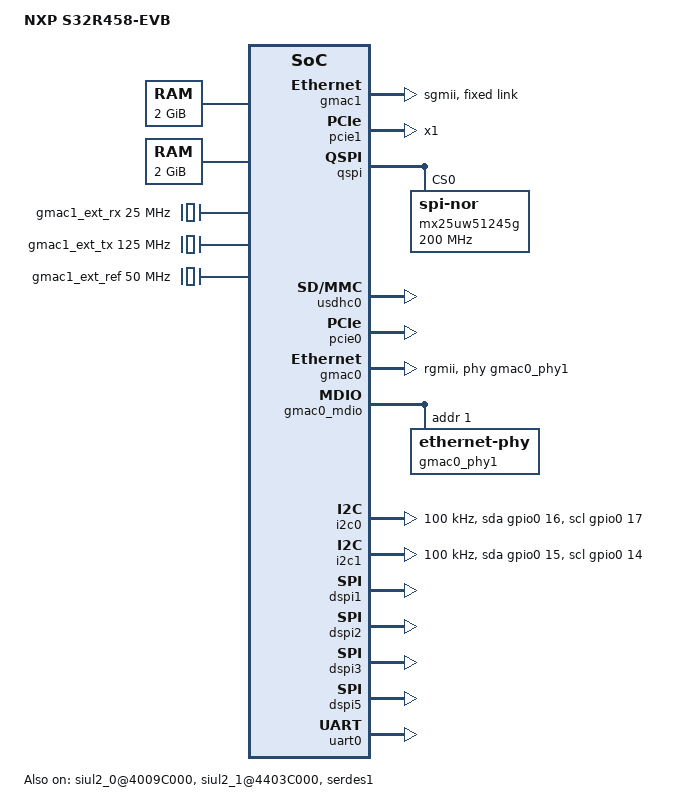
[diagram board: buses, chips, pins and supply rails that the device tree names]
// SPDX-License-Identifier: GPL-2.0+
/*
 * Copyright 2017-2022 NXP
 *
 * This program is free software; you can redistribute it and/or modify
 * it under the terms of the GNU General Public License as published by
 * the Free Software Foundation; either version 2 of the License, or
 * (at your option) any later version.
 */
#include <dt-bindings/clock/s32r45-clock.h>
#include <dt-bindings/clock/s32r45-scmi-clock.h>
#include <dt-bindings/gpio/gpio.h>
#include <dt-bindings/pinctrl/s32r45-pinctrl.h>

/dts-v1/;
#include "fsl-s32-gen1.dtsi"
/ {
	model = "NXP S32R458-EVB";
	compatible = "fsl,s32r45", "arm,vexpress,v2p-aarch64", "arm,vexpress";

	aliases {
		eth0 = &gmac0;
		eth1 = &gmac1;
	};

	memory@80000000 {
		device_type = "memory";
		reg = <0 0x80000000 0 0x80000000>;
	};

	memory@880000000 {
		device_type = "memory";
		reg = <0x8 0x80000000 0 0x80000000>;
	};

	sram@34000000 {
		device_type = "memory";
		reg = <0 0x34000000 0 0x800000>;
	};

	signature {
		key-boot_key {
			required = "conf";
			algo = "sha1,rsa2048";
			key-name-hint = "boot_key";
		};
	};

	gmac1_ext_rx: gmac1_ext_rx@0 {
		compatible = "fixed-clock";
		clock-frequency = <25000000>;
		#clock-cells = <1>;
	};

	gmac1_ext_tx: gmac1_ext_tx@0 {
		compatible = "fixed-clock";
		clock-frequency = <125000000>;
		#clock-cells = <1>;
	};

	gmac1_ext_ref: gmac1_ext_ref@0 {
		compatible = "fixed-clock";
		clock-frequency = <50000000>;
		#clock-cells = <1>;
	};

	siul2_0@4009C000 {
		compatible = "simple-mfd";
		status = "okay";
		reg = <0x0 0x4009C000 0x0 0x2000>;
		u-boot,dm-pre-reloc;

		pinctrl0: siul2-pinctrl0 {
			compatible = "fsl,s32-gen1-siul2-pinctrl";
			#pinctrl-cells = <2>;
			/* MSCR range */
			pins = <&pinctrl0 0 101>,
			/* IMCR range */
			<&pinctrl0 512 573>;
			status = "okay";
		};

		gpio0: siul2-gpio0 {
			compatible = "fsl,s32-gen1-siul2-gpio";
			#gpio-cells = <2>;
			gpio-controller;
			gpio-ranges = <&pinctrl0 0 0 102>;
			status = "okay";
		};

		siul2_0_nvram {
			compatible = "fsl,s32-gen1-siul2_0-nvram";
			status = "okay";
			u-boot,dm-pre-reloc;
		};
	};

	siul2_1@4403C000 {
		compatible = "simple-mfd";
		status = "okay";
		reg = <0x0 0x4403C000 0x0 0x2000>;
		u-boot,dm-pre-reloc;

		pinctrl1: siul2-pinctrl1 {
			compatible = "fsl,s32-gen1-siul2-pinctrl";
			#pinctrl-cells = <2>;
			/* MSCR range */
			pins = <&pinctrl1 102 133>,
			/* IMCR range */
			<&pinctrl1 603 785>;
			status = "okay";
		};

		gpio1: siul2-gpio1 {
			compatible = "fsl,s32-gen1-siul2-gpio";
			#gpio-cells = <2>;
			gpio-controller;
			gpio-ranges = <&pinctrl1 0 102 32>;
			status = "okay";
		};

		siul2_1_nvram {
			compatible = "fsl,s32r-siul2_1-nvram";
			status = "okay";
			u-boot,dm-pre-reloc;
		};
	};

	serdes1: serdes@44180000 {
		compatible = "fsl,s32gen1-serdes";
		reg = <0x00 0x44100000 0x0 0x80000   /* dbi registers */
		       0x00 0x44180000 0x0 0x04000>; /* serdes registers */
		reg-names = "dbi", "ss";
		#address-cells = <3>;
		#size-cells = <2>;
		device_type = "pci-generic";
		device_id = <1>;
		num-lanes = <1>; /* supports 1 lane */
		clocks = <&clks S32GEN1_SCMI_CLK_SERDES_REF>;

		assigned-clocks =
			<&clks S32R45_CLK_SERDES1_LANE0_TX>,
			<&clks S32R45_CLK_SERDES1_LANE0_CDR>;

		assigned-clock-parents =
			<&serdes1_lane0_ext_tx 0>,
			<&serdes1_lane0_ext_cdr 0>;

		status = "okay";
	};

	gmac1: ethernet@44010000 {
		compatible = "fsl,s32cc-dwmac";
		clocks = <&clks S32R45_SCMI_CLK_GMAC1_TS>,
				<&clks S32R45_SCMI_CLK_GMAC1_RX_SGMII>,
				<&clks S32R45_SCMI_CLK_GMAC1_TX_SGMII>,
				<&clks S32R45_SCMI_CLK_GMAC1_RX_RGMII>,
				<&clks S32R45_SCMI_CLK_GMAC1_TX_RGMII>,
				<&clks S32R45_SCMI_CLK_GMAC1_AXI>;
		clock-names = "ts", "rx_sgmii", "tx_sgmii",
						"rx_rgmii", "tx_rgmii", "axi";
		status = "okay";
		reg = <0x0 0x44010000 0x0 0x2000>,
		      <0x0 0x4007CA00 0x0 0x4>;
		tx-fifo-depth = <20480>;
		rx-fifo-depth = <20480>;
		phy-mode = "sgmii";
		fixed-link {
			speed = <1000>;
			full-duplex;
		};
	};

	pcie1: pcie@44100000 {
		compatible = "fsl,s32r45-pcie";
		reg =
			<0x00 0x44100000 0x0 0x80000   /* dbi registers */
			/* configuration space, 4KB each for cfg0 and cfg1
			 * at the end of the outbound memory map
			 */
			0x4f 0xffffe000 0x0 0x00002000>;
		reg-names = "dbi", "config";
		#address-cells = <3>;
		#size-cells = <2>;
		device_type = "pci";
		serdes-handle = <&serdes1>;
		device_id = <1>;
		num-lanes = <1>; /* supports max 1 pcie lane */
		link-speed = <3>; /* supports Gen3 speed */
		bus-range = <0x0 0xff>;
		ranges =
			/* downstream I/O, 64KB and aligned naturally just before
			 * the config space to minimize fragmentation
			 */
			<0x81000000 0x0 0x00000000 0x4f 0xfffe0000 0x0 0x00010000
			/* non-prefetchable memory, with best case size
			 * and alignment
			 */
			 0x82000000 0x0 0x00000000 0x48 0x00000000 0x7 0xfffe0000>;
		status = "okay";
	};
};

&serdes0 {
	assigned-clocks =
		<&clks S32GEN1_CLK_SERDES0_LANE0_TX>,
		<&clks S32GEN1_CLK_SERDES0_LANE0_CDR>,
		<&clks S32GEN1_CLK_SERDES_REF>;
	assigned-clock-parents =
		<&serdes0_lane0_ext_tx 0>,
		<&serdes0_lane0_ext_cdr 0>;
	assigned-clock-rates =
		<0>, <0>,
		<100000000>;
};

&accelpll {
	assigned-clocks =
		<&clks S32GEN1_CLK_ACCEL_PLL_MUX>,
		<&clks S32GEN1_CLK_ACCEL_PLL_VCO>,
		<&clks S32R45_CLK_ACCEL_PLL_PHI0>,
		<&clks S32GEN1_CLK_ARM_PLL_DFS4>;
	assigned-clock-parents =
		<&clks S32GEN1_CLK_FXOSC>;
	assigned-clock-rates =
		<0>,
		<1800000000>,
		<600000000>,
		<400000000>;
};

&clks {
	clocks = <&clks S32GEN1_SCMI_CLK_FTM0_SYS>,
		<&clks S32GEN1_SCMI_CLK_FTM1_SYS>,
		<&clks S32GEN1_SCMI_CLK_FTM0_EXT>,
		<&clks S32GEN1_SCMI_CLK_FTM1_EXT>,
		<&clks S32GEN1_SCMI_CLK_FLEXCAN_CAN>,
		<&clks S32GEN1_SCMI_CLK_SPI_REG>,
		<&clks S32GEN1_SCMI_CLK_QSPI_FLASH1X>,
		<&clks S32R45_SCMI_CLK_LAX_MODULE>,
		<&clks S32R45_SCMI_CLK_SPT_SPT>;

	mc_cgm2: mc_cgm2@440C0000 {
		compatible = "fsl,s32gen1-mc_cgm2";
		reg = <0x0 0x440C0000 0x0 0x3000>;

		assigned-clocks =
			<&clks S32R45_CLK_MC_CGM2_MUX0>,
			<&clks S32R45_CLK_MC_CGM2_MUX1>,
			<&clks S32R45_CLK_ACCEL3>,
			<&clks S32R45_CLK_ACCEL4>;
		assigned-clock-parents =
			<&clks S32R45_CLK_ACCEL_PLL_PHI0>,
			<&clks S32R45_CLK_ARM_PLL_DFS4_2>;
		assigned-clock-rates =
			<0>,
			<0>,
			<600000000>,
			<400000000>;
	};
};

&qspi {
	pinctrl-0 = <&pinctrl0_qspi>;
	pinctrl-names = "default";
	status = "okay";

	mx25uw51245g@0 {
		#address-cells = <1>;
		#size-cells = <1>;
		compatible = "jedec,spi-nor";
		spi-max-frequency = <200000000>;
		spi-tx-bus-width = <8>;
		spi-rx-bus-width = <8>;
		reg = <0>;
	};
};

&usdhc0 {
	pinctrl-0 = <&pinctrl0_sd0>;
	pinctrl-names = "default";
	status = "okay";
};

&pcie0 {
	compatible = "fsl,s32r45-pcie";
	status = "okay";

	link-speed = <3>; /* Gen3 */
};

&gmac0 {
	clocks = <&clks S32GEN1_SCMI_CLK_GMAC0_TS>,
		 <&clks S32GEN1_SCMI_CLK_GMAC0_RX_SGMII>,
		 <&clks S32GEN1_SCMI_CLK_GMAC0_TX_SGMII>,
		 <&clks S32GEN1_SCMI_CLK_GMAC0_RX_RGMII>,
		 <&clks S32GEN1_SCMI_CLK_GMAC0_TX_RGMII>,
		 <&clks S32GEN1_SCMI_CLK_GMAC0_AXI>;
	clock-names = "ts", "rx_sgmii", "tx_sgmii",
		      "rx_rgmii", "tx_rgmii", "axi";
	pinctrl-0 = <&pinctrl0_gmac0 &pinctrl0_gmac0_mdio>;
	pinctrl-1 = <&pinctrl0_gmac0_mdio>;
	pinctrl-names = "gmac_rgmii", "gmac_sgmii";
	status = "okay";
	phy-mode = "rgmii";
	phy-handle = <&gmac0_phy1>;
};

&gmac0_mdio {
	#address-cells = <1>;
	#size-cells = <0>;
	/* KSZ9031RNXCA on S32R-VNP-PROC */
	gmac0_phy1: ethernet-phy@1 {
		reg = <1>;
	};
};

/* J36 - PMIC */
&i2c0 {
	clock-frequency=<100000>;
	pinctrl-names = "default", "gpio";
	pinctrl-0 = <&pinctrl0_i2c0>;
	pinctrl-1 = <&pinctrl0_i2c0_gpio>;
	scl-gpios = <&gpio0 17 (GPIO_ACTIVE_HIGH | GPIO_OPEN_DRAIN)>;
	sda-gpios = <&gpio0 16 (GPIO_ACTIVE_HIGH | GPIO_OPEN_DRAIN)>;
	status = "okay";
};

/* J37 */
&i2c1 {
	clock-frequency=<100000>;
	pinctrl-names = "default", "gpio";
	pinctrl-0 = <&pinctrl0_i2c1 &pinctrl1_i2c1>;
	pinctrl-1 = <&pinctrl0_i2c1_gpio &pinctrl1_i2c1_gpio>;
	scl-gpios = <&gpio0 14 (GPIO_ACTIVE_HIGH | GPIO_OPEN_DRAIN)>;
	sda-gpios = <&gpio0 15 (GPIO_ACTIVE_HIGH | GPIO_OPEN_DRAIN)>;
	status = "okay";
};

&pinctrl0 {
	board_pinctrl0 {
		u-boot,dm-pre-reloc;
		pinctrl0_dspi1: pinctrl0_dspi1 {
			fsl,pins = <PB04_MSCR_S32R45 PB04_SPI1_SCK_CFG
				    PB05_MSCR_S32R45 PB05_SPI1_SIN_CFG
				    PB06_MSCR_S32R45 PB06_SPI1_SOUT_CFG
				    PB07_MSCR_S32R45 PB07_SPI1_CS0_CFG
				    PB08_MSCR_S32R45 PB08_SPI1_CS1_CFG
				    >;
		};

		pinctrl0_dspi2: pinctrl0_dspi2 {
			fsl,pins = <PB11_MSCR_S32R45 PB11_SPI2_SCK_CFG
				    PB13_MSCR_S32R45 PB13_SPI2_SOUT_CFG
				    PB14_MSCR_S32R45 PB14_SPI2_CS0_CFG
				    PB15_MSCR_S32R45 PB15_SPI2_CS1_CFG
				    PC01_MSCR_S32R45 PC01_SPI2_SIN_CFG
				    >;
		};

		pinctrl0_dspi3: pinctrl0_dspi3 {
			fsl,pins = <PC04_MSCR_S32R45 PC04_SPI3_SCK_CFG
				    PC06_MSCR_S32R45 PC06_SPI3_SIN_CFG
				    PC07_MSCR_S32R45 PC07_SPI3_CS0_CFG
				    PC08_MSCR_S32R45 PC08_SPI3_CS1_CFG
				    PC13_MSCR_S32R45 PC13_SPI3_SOUT_CFG
				    >;
		};

		pinctrl0_gmac0_mdio: pinctrl0_gmac0_mdio {
			fsl,pins = <PD12_MSCR_S32R45 PD12_GMAC0_MDC_CFG
				    PD13_MSCR_S32R45 PD13_GMAC0_MDIO_CFG
				    GMAC0_MDIO_IMCR PD13_GMAC0_MDIO_IN
				    >;
		};

		pinctrl0_gmac0: pinctrl0_gmac0 {
			fsl,pins = <PE02_MSCR_S32R45 PE02_GMAC0_TX_CLK_CFG
				    PE03_MSCR_S32R45 PE03_GMAC0_TX_EN_CFG
				    PE04_MSCR_S32R45 PE04_GMAC0_TX_D0_CFG
				    PE05_MSCR_S32R45 PE05_GMAC0_TX_D1_CFG
				    PE06_MSCR_S32R45 PE06_GMAC0_TX_D2_CFG
				    PE07_MSCR_S32R45 PE07_GMAC0_TX_D3_CFG
				    PE08_MSCR_S32R45 PE08_GMAC0_RX_CLK_CFG
				    PE09_MSCR_S32R45 PE09_GMAC0_RX_DV_CFG
				    PE10_MSCR_S32R45 PE10_GMAC0_RX_D0_CFG
				    PE11_MSCR_S32R45 PE11_GMAC0_RX_D1_CFG
				    PE12_MSCR_S32R45 PE12_GMAC0_RX_D2_CFG
				    PE13_MSCR_S32R45 PE13_GMAC0_RX_D3_CFG
				    GMAC0_TX_CLK_IMCR PE02_GMAC0_TX_CLK_IN
				    GMAC0_RX_CLK_IMCR PE08_GMAC0_RX_CLK_IN
				    GMAC0_RX_DV_IMCR PE09_GMAC0_RX_DV_IN
				    GMAC0_RX_D0_IMCR PE10_GMAC0_RX_D0_IN
				    GMAC0_RX_D1_IMCR PE11_GMAC0_RX_D1_IN
				    GMAC0_RX_D2_IMCR PE12_GMAC0_RX_D2_IN
				    GMAC0_RX_D3_IMCR PE13_GMAC0_RX_D3_IN
				    >;
		};

		pinctrl0_i2c0: pinctrl0_i2c0 {
			fsl,pins = <PB00_MSCR_S32R45 PB00_I2C0_SDA_CFG
				    PB01_MSCR_S32R45 PB01_I2C0_SCL_CFG
				    I2C0_SDA_IMCR PB00_I2C0_SDA_IN
				    I2C0_SCL_IMCR PB01_I2C0_SCL_IN
				    >;
		};

		pinctrl0_i2c0_gpio: pinctrl0_i2c0_gpio {
			fsl,pins = <PB00_MSCR_S32R45 PB00_I2C0_SDA_GPIO
				    PB01_MSCR_S32R45 PB01_I2C0_SCL_GPIO
				    I2C0_SDA_IMCR IMCR_DISABLED
				    I2C0_SCL_IMCR IMCR_DISABLED
				    >;
		};

		pinctrl0_i2c1: pinctrl0_i2c1 {
			fsl,pins = <PA14_MSCR_S32R45 PA14_I2C1_SCL_CFG
				    PA15_MSCR_S32R45 PA15_I2C1_SDA_CFG
				    >;
		};

		pinctrl0_i2c1_gpio: pinctrl0_i2c1_gpio {
			fsl,pins = <PA14_MSCR_S32R45 PA14_I2C1_SCL_GPIO
				    PA15_MSCR_S32R45 PA15_I2C1_SDA_GPIO
				    >;
		};

		pinctrl0_qspi: pinctrl0_qspi {
			fsl,pins = <PF05_MSCR_S32R45 PF05_QSPI_DATA_A0_CFG
				    PF06_MSCR_S32R45 PF06_QSPI_DATA_A1_CFG
				    PF07_MSCR_S32R45 PF07_QSPI_DATA_A2_CFG
				    PF08_MSCR_S32R45 PF08_QSPI_DATA_A3_CFG
				    PF09_MSCR_S32R45 PF09_QSPI_DATA_A4_CFG
				    PF10_MSCR_S32R45 PF10_QSPI_DATA_A5_CFG
				    PF11_MSCR_S32R45 PF11_QSPI_DATA_A6_CFG
				    PF12_MSCR_S32R45 PF12_QSPI_DATA_A7_CFG
				    PF13_MSCR_S32R45 PF13_QSPI_DQS_A_CFG
				    PG00_MSCR_S32R45 PG00_QSPI_CLK_A_CFG
				    PG01_MSCR_S32R45 PG01_QSPI_CLK_A_b_CFG
				    PG02_MSCR_S32R45 PG02_QSPI_CLK_2A_CFG
				    PG03_MSCR_S32R45 PG03_QSPI_CLK_2A_b_CFG
				    PG04_MSCR_S32R45 PG04_QSPI_CS_A0
				    PG05_MSCR_S32R45 PG05_QSPI_CS_A1
				    QSPI_DATA0_A_IMCR PF05_QSPI_DATA_A0_IN
				    QSPI_DATA1_A_IMCR PF06_QSPI_DATA_A1_IN
				    QSPI_DATA2_A_IMCR PF07_QSPI_DATA_A2_IN
				    QSPI_DATA3_A_IMCR PF08_QSPI_DATA_A3_IN
				    QSPI_DATA4_A_IMCR PF09_QSPI_DATA_A4_IN
				    QSPI_DATA5_A_IMCR PF10_QSPI_DATA_A5_IN
				    QSPI_DATA6_A_IMCR PF11_QSPI_DATA_A6_IN
				    QSPI_DATA7_A_IMCR PF12_QSPI_DATA_A7_IN
				    QSPI_DQS_A_IMCR PF13_DQS_A_IN
				    >;
		};

		pinctrl0_sd0: pinctrl0_sd0 {
			fsl,pins = <PC14_MSCR_S32R45 PC14_SD0_CLK_CFG
				    PC15_MSCR_S32R45 PC15_SD0_CMD_CFG
				    PD00_MSCR_S32R45 PD00_SD0_D0_CFG
				    PD01_MSCR_S32R45 PD01_SD0_D1_CFG
				    PD02_MSCR_S32R45 PD02_SD0_D2_CFG
				    PD03_MSCR_S32R45 PD03_SD0_D3_CFG
				    PD04_MSCR_S32R45 PD04_SD0_D4_CFG
				    PD05_MSCR_S32R45 PD05_SD0_D5_CFG
				    PD06_MSCR_S32R45 PD06_SD0_D6_CFG
				    PD07_MSCR_S32R45 PD07_SD0_D7_CFG
				    PD08_MSCR_S32R45 PD08_SD0_RST_CFG
				    PD09_MSCR_S32R45 PD09_SD0_VSELECT_CFG
				    SD0_CMD_IMCR PC15_SD0_CMD_IN
				    SD0_D0_IMCR PD00_SD0_D0_IN
				    SD0_D1_IMCR PD01_SD0_D1_IN
				    SD0_D2_IMCR PD02_SD0_D2_IN
				    SD0_D3_IMCR PD03_SD0_D3_IN
				    SD0_D4_IMCR PD04_SD0_D4_IN
				    SD0_D5_IMCR PD05_SD0_D5_IN
				    SD0_D6_IMCR PD06_SD0_D6_IN
				    SD0_D7_IMCR PD07_SD0_D7_IN
				    >;
		};

		pinctrl0_uart0: pinctrl0_uart0 {
			u-boot,dm-pre-reloc;
			fsl,pins = <PC09_MSCR_S32R45 PC09_LIN0_TX_CFG
				    PC10_MSCR_S32R45 PC10_LIN0_RX_CFG
				    LIN0_RX_IMCR PC10_LIN0_RX_IN>;
		};
	};
};

&pinctrl1 {
	board_pinctrl1 {
		pinctrl1_dspi1: pinctrl1_dspi1 {
			fsl,pins = <DSPI1_SIN_IMCR PB05_SPI1_SIN_IN
				    >;
		};

		pinctrl1_dspi2: pinctrl1_dspi2 {
			fsl,pins = <DSPI2_SIN_IMCR PC01_SPI2_SIN_IN
				    >;
		};

		pinctrl1_dspi3: pinctrl1_dspi3 {
			fsl,pins = <DSPI3_SIN_IMCR PC06_SPI3_SIN_IN
				    >;
		};

		pinctrl1_dspi5: pinctrl1_dspi5 {
			fsl,pins = <PK00_MSCR_S32R45 PK00_SPI5_SCK_CFG
				    PK03_MSCR_S32R45 PK03_SPI5_CS0_CFG
				    PK04_MSCR_S32R45 PK04_SPI5_SIN_CFG
				    PK05_MSCR_S32R45 PK05_SPI5_SOUT_CFG
				    DSPI5_SIN_IMCR PK04_SPI5_SIN_IN
				    >;
		};

		pinctrl1_i2c1: pinctrl1_i2c1 {
			fsl,pins = <I2C1_SCL_IMCR PA14_I2C1_SCL_IN
				    I2C1_SDA_IMCR PA15_I2C1_SDA_IN
				    >;
		};

		pinctrl1_i2c1_gpio: pinctrl1_i2c1_gpio {
			fsl,pins = <I2C1_SCL_IMCR IMCR_DISABLED
				    I2C1_SDA_IMCR IMCR_DISABLED
				    >;
		};
	};
};

&dspi1 {
	pinctrl-names = "default";
	pinctrl-0 = <&pinctrl0_dspi1>, <&pinctrl1_dspi1>;
	status = "okay";
};

&dspi2 {
	pinctrl-names = "default";
	pinctrl-0 = <&pinctrl0_dspi2>, <&pinctrl1_dspi2>;
	status = "okay";
};

&dspi3 {
	pinctrl-names = "default";
	pinctrl-0 = <&pinctrl0_dspi3>, <&pinctrl1_dspi3>;
	status = "okay";
};

&dspi5 {
	pinctrl-names = "default";
	pinctrl-0 =  <&pinctrl1_dspi5>;
	status = "okay";
};

&ocotp {
	compatible = "fsl,s32r45-ocotp";
};

&uart0 {
	pinctrl-0 = <&pinctrl0_uart0>;
	pinctrl-names = "default";
	status = "okay";
};
